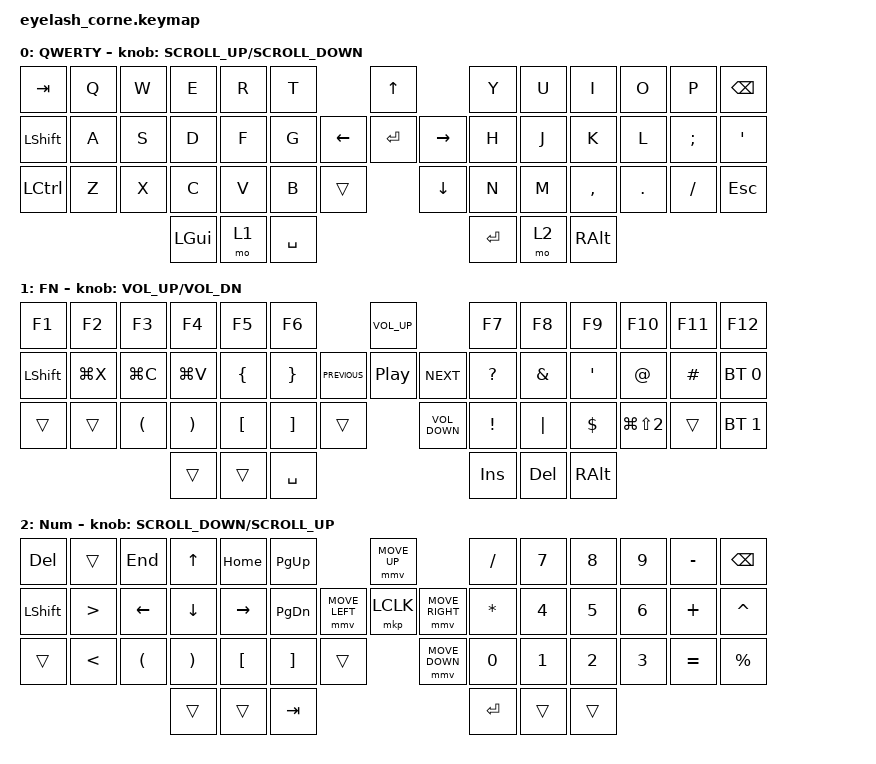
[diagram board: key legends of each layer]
#define ZMK_POINTING_DEFAULT_MOVE_VAL 1200  // 600
#define ZMK_POINTING_DEFAULT_SCRL_VAL 25   // 10

#include <input/processors.dtsi>
#include <zephyr/dt-bindings/input/input-event-codes.h>
#include <behaviors.dtsi>
#include <dt-bindings/zmk/bt.h>
#include <dt-bindings/zmk/keys.h>
#include <dt-bindings/zmk/pointing.h>
#include <dt-bindings/zmk/rgb.h>

&mmv_input_listener { input-processors = <&zip_xy_scaler 2 1>; };

&msc_input_listener { input-processors = <&zip_scroll_scaler 2 1>; };

&msc {
    acceleration-exponent = <1>;      // 0
    time-to-max-speed-ms = <100>;       // 300
    delay-ms = <0>;                   // 0
};

&mmv {
    time-to-max-speed-ms = <500>;
    acceleration-exponent = <1>;
    trigger-period-ms = <16>;
};

&soft_off { hold-time-ms = <2000>; };

/ {
    behaviors {
        td0: td0 {
            compatible = "zmk,behavior-tap-dance";
            display-name = "Shift/Caps Lock Tap Dance";
            #binding-cells = <0>;
            bindings = <&kp LEFT_SHIFT>, <&kp CAPS>;
        };
    };

    rgb_encoder: rgb_encoder {
        compatible = "zmk,behavior-sensor-rotate";
        #sensor-binding-cells = <0>;
        bindings = <&rgb_ug RGB_BRI>, <&rgb_ug RGB_BRD>;
    };

    scroll_encoder: scroll_encoder {
        compatible = "zmk,behavior-sensor-rotate";
        #sensor-binding-cells = <0>;
        bindings = <&msc SCRL_DOWN>, <&msc SCRL_UP>;

        tap-ms = <100>;
    };

    combos { compatible = "zmk,combos"; };

    keymap {
        compatible = "zmk,keymap";

        default_layer {
            display-name = "QWERTY";
            bindings = <
&kp TAB         &kp Q  &kp W  &kp E     &kp R  &kp T                          &kp UP                &kp Y      &kp U  &kp I      &kp O    &kp P          &kp BSPC
&kp LEFT_SHIFT  &kp A  &kp S  &kp D     &kp F  &kp G                &kp LEFT  &kp ENTER  &kp RIGHT  &kp H      &kp J  &kp K      &kp L    &kp SEMICOLON  &kp SQT
&kp LCTRL       &kp Z  &kp X  &kp C     &kp V  &kp B      &trans              &kp DOWN              &kp N      &kp M  &kp COMMA  &kp DOT  &kp SLASH      &kp ESCAPE
                              &kp LGUI  &mo 1  &kp SPACE                                            &kp ENTER  &mo 2  &kp RALT
            >;

            sensor-bindings = <&inc_dec_kp K_SCROLL_UP K_SCROLL_DOWN>;
        };

        FN {
            display-name = "FN";
            bindings = <
&kp F1      &kp F2     &kp F3                &kp F4     &kp F5            &kp F6                                     &kp C_VOL_UP                   &kp F7           &kp F8         &kp F9         &kp F10         &kp F11   &kp F12
&kp LSHIFT  &kp LG(X)  &kp LG(C)             &kp LG(V)  &kp LEFT_BRACE    &kp RIGHT_BRACE            &kp C_PREVIOUS  &kp C_PLAY_PAUSE   &kp C_NEXT  &kp QUESTION     &kp AMPERSAND  &kp SQT        &kp AT          &kp HASH  &bt BT_SEL 0
&trans      &trans     &kp LEFT_PARENTHESIS  &kp RPAR   &kp LEFT_BRACKET  &kp RBKT         &trans                    &kp C_VOLUME_DOWN              &kp EXCLAMATION  &kp PIPE       &kp DOLLAR     &kp LG(LS(N2))  &trans    &bt BT_SEL 1
                                             &trans     &trans            &kp SPACE                                                                 &kp INS          &kp DEL        &kp RIGHT_ALT
            >;

            sensor-bindings = <&inc_dec_kp C_VOL_UP C_VOL_DN>;
        };

        NUM {
            display-name = "Num";
            bindings = <
&kp DELETE      &trans            &kp END               &kp UP_ARROW           &kp HOME          &kp PAGE_UP                                  &mmv MOVE_UP                     &kp SLASH     &kp NUMBER_7  &kp NUMBER_8  &kp NUMBER_9  &kp MINUS  &kp BSPC
&kp LEFT_SHIFT  &kp GREATER_THAN  &kp LEFT_ARROW        &kp DOWN_ARROW         &kp RIGHT_ARROW   &kp PAGE_DOWN                &mmv MOVE_LEFT  &mkp LCLK       &mmv MOVE_RIGHT  &kp ASTERISK  &kp NUMBER_4  &kp NUMBER_5  &kp NUMBER_6  &kp PLUS   &kp CARET
&trans          &kp LESS_THAN     &kp LEFT_PARENTHESIS  &kp RIGHT_PARENTHESIS  &kp LEFT_BRACKET  &kp RIGHT_BRACKET  &trans                    &mmv MOVE_DOWN                   &kp NUMBER_0  &kp NUMBER_1  &kp NUMBER_2  &kp NUMBER_3  &kp EQUAL  &kp PERCENT
                                                        &trans                 &trans            &kp TAB                                                                       &kp RET       &trans        &trans
            >;

            sensor-bindings = <&inc_dec_kp K_SCROLL_DOWN K_SCROLL_UP>;
        };
    };
};
